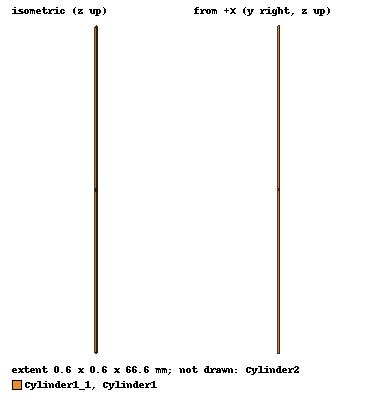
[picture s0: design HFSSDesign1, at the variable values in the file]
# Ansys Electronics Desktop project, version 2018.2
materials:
  vacuum: permittivity=1
  copper: permeability=0.999991 conductivity=58000000
  air: permittivity=1.0006 permeability=1.0000004

design HFSSDesign1 (HFSS, DrivenModal, model units mm)
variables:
  d_base = 0.3mm
  r_d = 0.3mm
  h_d = 33mm
  radb_base = 66mm
  r_radb = 33mm
  h_radb = 132mm
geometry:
  Cylinder1 [copper] = cylinder(axis=Z, base_centre=(0mm, 0mm, d_base), radius=r_d, height=h_d)
  Cylinder1_1 [copper] = Cylinder1.duplicate_around_axis(axis=X, angle=180deg, total=2)
  Rectangle1 = rectangle(corner=(0mm, -r_d, -d_base), y_size=2*r_d, z_size=2*d_base)
  Cylinder2 [air] = cylinder(axis=Z, base_centre=(0mm, 0mm, -radb_base), radius=r_radb, height=h_radb)
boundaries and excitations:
  Rad1: Radiation Objects=Cylinder2
  1: Lumped Port Objects=Rectangle1 Modes{Mode1{IntLine{middle of Rectangle1.edge(z at corner) -> middle of Rectangle1.edge(z opposite corner)} CharImp=Zpi RenormImp=50ohm}} Impedance=50ohm
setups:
  Setup1: HfssDriven Frequency=2GHz MaxDeltaS=0.02 MaximumPasses=6 MinimumPasses=1 MinimumConvergedPasses=1 PercentRefinement=30 BasisOrder=1 PortAccuracy=2
    sweep Sweep: 1MHz to 4GHz step 0.02GHz; Type=Fast SaveFields
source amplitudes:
  1:1: 1W 0deg
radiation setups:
  Infinite Sphere1: Infinite Sphere Theta=-180deg..180deg step 2deg Phi=0deg..360deg step 2deg
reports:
  S Parameter Plot 1: dB(S(1,1)) vs Freq on Setup1 : Sweep; markers m1 at 2.081GHz
  Gain Plot 2: dB(GainTotal) vs Theta on Setup1 : Sweep, Infinite Sphere1 [Phi=0deg Freq=2.101GHz]
  Gain Plot 3: dB(GainPhi), dB(GainTheta) vs Theta on Setup1 : Sweep, Infinite Sphere1 [Phi=0deg Freq=2.101GHz]
  Gain Plot 4: dB(GainTotal) vs Freq on Setup1 : Sweep, Infinite Sphere1 [Freq=2.001GHz,2.101GHz,2.201GHz Phi=0deg Theta=90deg]; markers m1 at 2.101GHz
  Directivity Plot 2: dB(DirTotal) vs Freq on Setup1 : Sweep, Infinite Sphere1 [Freq=2.001GHz,2.101GHz,2.201GHz Phi=0deg Theta=90deg]; markers m1 at 2.101GHz
   Plot 1: RadiatedPower/IncidentPower vs Freq on Setup1 : Sweep [Freq=2.001GHz,2.101GHz,2.201GHz]; markers m1 at 2.101GHz
